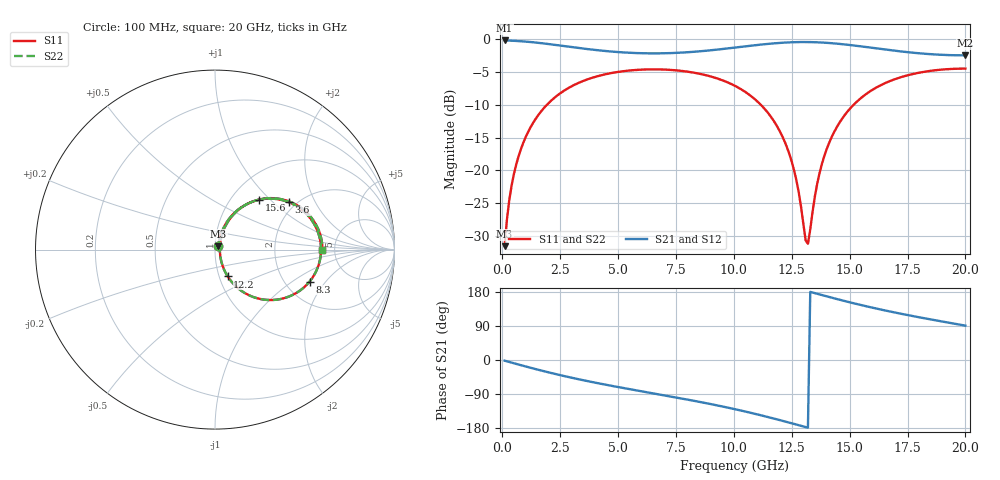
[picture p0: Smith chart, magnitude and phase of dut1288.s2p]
! Touchstone file exported from HFSS 2026.1.0
!  File:  C:/ffzhzh/LocalFiles/Ansys_Project_Files/temp_train_TSV_RDL_1288_1783331347_38704.aedt
!  Generated:  06:03:40 PM Jul  6, 2026
!  Design:  TSV_RDL
!  Project:  temp_train_TSV_RDL_1288_1783331347_38704
! Variables:
!  h_bsmrdl = 5.53um
!  h_ox = 20um
!  h_rdl = 5um
!  h_sub = 73.9um
!  h_tmrdl = 3.5um
!  h_tsv = 73.9um
!  h_via = 3um
!  l_bsmrdl = 975.94um
!  l_sub = 4556.5um
!  l_tmrdl = 280.71um
!  m_sub = 200um
!  pitch = 54.83um
!  r_tsv = 13.57um
!  s_tmrdl = 10um
!  w_bsmrdl = 16.2um
!  w_sub = 500um
!  w_tmrdl = 19.08um
!  x_tsv_center1 = 290.25um
!  x_tsv_center2 = 1282.39um
!  x_tsv_center3 = 1582.18um
!  x_tsv_center4 = 2574.32um
!  x_tsv_center5 = 2874.11um
!  x_tsv_center6 = 3866.25um
# GHz S MA R 50.000000
! Terminal data exported
! Port[1] = TM_RDL1_1_T1
! Port[2] = TM_RDL5_1_T1
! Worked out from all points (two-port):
!   200 points, 100 MHz to 20 GHz, reference 50 ohm
!   highest |S21| = -0.16 dB at 100 MHz (marker M1); lowest = -2.4 dB at 20 GHz (marker M2)
!   |S21| within 3 dB of the highest: start of sweep to end of sweep
!   lowest |S11| = -31.5 dB at 100 MHz (marker M3), VSWR 1.05, Z = 51.9 + j1.92 ohm
!   |S11| at or under -10 dB: start of sweep to 1.921 GHz; 11.17 GHz to 15.17 GHz (3.995 GHz wide, 30.3 % of centre)
!   |S22| runs from -31.5 to -4.5 dB; largest |S21 - S12| = 1.6e-14
!   S11 on the Smith chart (normalised r, x): 100 MHz: 1.04, +0.04; 3.6 GHz: 1.84, +1.27; 8.3 GHz: 2.71, -1.39; 12.2 GHz: 1.10, -0.34; 15.6 GHz: 1.33, +0.86; 20 GHz: 3.98, -0.03
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0.1  0.02647 44.3  0.9814 -1.8  0.9814 -1.8  0.02647 44.3
! Gamma 0 0 0 0
! Port Impedance 50 0 50 0
0.3  0.05917 65.4  0.9788 -5.2  0.9788 -5.2  0.05917 65.4
0.5  0.09362 68.7  0.9753 -8.6  0.9753 -8.6  0.09362 68.7
1.1  0.1944 64.9  0.9591 -18.6  0.9591 -18.6  0.1944 64.9
2.1  0.3398 51.9  0.9169 -34.1  0.9169 -34.1  0.3398 51.9
3.5  0.4823 33.7  0.851 -53.4  0.851 -53.4  0.4823 33.7
3.6  0.4899 32.5  0.8468 -54.7  0.8468 -54.7  0.4899 32.5
5.2  0.5712 14.3  0.796 -73.6  0.796 -73.6  0.5712 14.3
6.8  0.5902 -2.6  0.7826 -91.2  0.7826 -91.2  0.5902 -2.6
8.3  0.5564 -18.6  0.8049 -107.9  0.8049 -107.9  0.5564 -18.7
10.1  0.4374 -39.7  0.8682 -130.5  0.8682 -130.5  0.4374 -39.8
11.3  0.2992 -55.0  0.9178 -147.8  0.9178 -147.8  0.2991 -55.0
12.2  0.1653 -64.6  0.9453 -162.1  0.9453 -162.1  0.1653 -64.7
12.7  0.0844 -63.4  0.9532 -170.3  0.9532 -170.3  0.08432 -63.6
13.1  0.0293 -21.4  0.9546 -177.0  0.9546 -177.0  0.02907 -21.6
13.2  0.02763 12.1  0.9543 -178.6  0.9543 -178.6  0.02739 12.2
13.4  0.04849 52.8  0.9528 178.0  0.9528 178.0  0.04836 53.0
13.7  0.09529 65.3  0.9484 173.0  0.9484 173.0  0.09524 65.4
14.2  0.1758 65.0  0.9362 164.9  0.9362 164.9  0.1758 65.0
15.6  0.37 48.8  0.8796 143.5  0.8796 143.5  0.37 48.8
16.7  0.4777 35.3  0.8299 128.5  0.8299 128.5  0.4777 35.3
20  0.5985 -0.2  0.7555 90.7  0.7555 90.7  0.5985 -0.2
